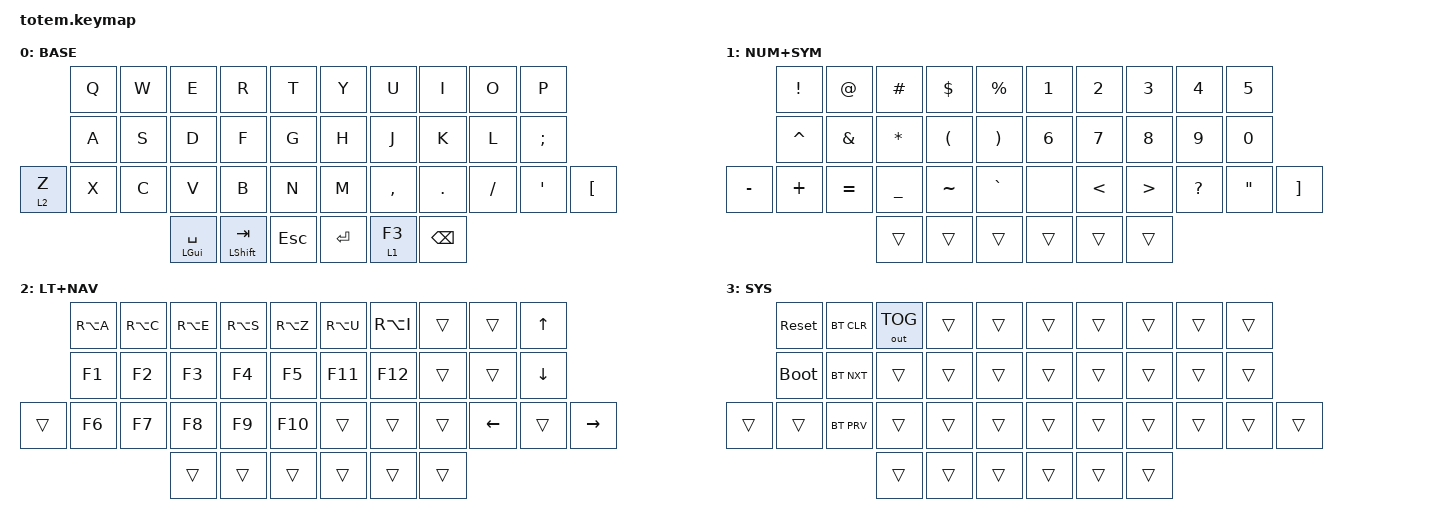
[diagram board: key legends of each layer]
#include <behaviors.dtsi>
#include <dt-bindings/zmk/bt.h>
#include <dt-bindings/zmk/keys.h>
#include <dt-bindings/zmk/outputs.h>

#define BASE 0
#define CMD  1
#define NUM_SYM 2
#define LT_NAV 3
#define SYS  4

&mt {
    quick-tap-ms = <100>;
    global-quick-tap;
    flavor = "hold-preferred";
    tapping-term-ms = <200>;
};

&lt {
    quick-tap-ms = <50>;
    tapping-term-ms = <200>;
    flavor = "tap-preferred";
};

/ {
    combos {
        compatible = "zmk,combos";

        // ' + [ = toggle SYS layer (key-positions 33 34)
        // OPTION + BACKSPACE = DELETE (key-positions 36 37)

        combo_opt_del {
            timeout-ms = <100>;
            key-positions = <36 37>;
            bindings = <&kp DEL>;
            layers = <0>;
        };

        SYS_LAYER {
            bindings = <&kp LEFT_BRACKET>;
            key-positions = <31 30>;
            layers = <3>;
        };
    };

    keymap {
        compatible = "zmk,keymap";

        base_layer {
            label = "BASE";
            bindings = <
         &kp Q  &kp W  &kp E           &kp R          &kp T      &kp Y    &kp U      &kp I          &kp O     &kp P
         &kp A  &kp S  &kp D           &kp F          &kp G      &kp H    &kp J      &kp K          &kp L     &kp SEMI
&lt 2 Z  &kp X  &kp C  &kp V           &kp B          &kp N      &kp M    &kp COMMA  &kp DOT        &kp FSLH  &kp SQT   &kp LBKT
                       &mt LGUI SPACE  &mt LSHFT TAB  &kp ESC    &kp RET  &lt 1 F3   &kp BACKSPACE
            >;
        };

        num_sym_layer {
            label = "NUM+SYM";
            bindings = <
           &kp EXCL   &kp AT     &kp HASH      &kp DLLR   &kp PRCNT    &kp N1  &kp N2  &kp N3  &kp N4        &kp N5
           &kp CARET  &kp AMPS   &kp ASTERISK  &kp LPAR   &kp RPAR     &kp N6  &kp N7  &kp N8  &kp N9        &kp N0
&kp MINUS  &kp PLUS   &kp EQUAL  &kp UNDER     &kp TILDE  &kp GRAVE    &none   &kp LT  &kp GT  &kp QUESTION  &kp DOUBLE_QUOTES  &kp RBKT
                                 &trans        &trans     &trans       &trans  &trans  &trans
            >;
        };

        lt_nav_layer {
            label = "LT+NAV";
            bindings = <
        &kp RA(A)  &kp RA(C)  &kp RA(E)  &kp RA(S)  &kp RA(Z)    &kp RA(U)  &kp RA(I)  &trans  &trans    &kp UP
        &kp F1     &kp F2     &kp F3     &kp F4     &kp F5       &kp F11    &kp F12    &trans  &trans    &kp DOWN
&trans  &kp F6     &kp F7     &kp F8     &kp F9     &kp F10      &trans     &trans     &trans  &kp LEFT  &trans    &kp RIGHT
                              &trans     &trans     &trans       &trans     &trans     &trans
            >;
        };

        sys_layer {
            label = "SYS";
            bindings = <
        &sys_reset   &bt BT_CLR  &out OUT_TOG  &trans  &trans    &trans  &trans  &trans  &trans  &trans
        &bootloader  &bt BT_NXT  &trans        &trans  &trans    &trans  &trans  &trans  &trans  &trans
&trans  &trans       &bt BT_PRV  &trans        &trans  &trans    &trans  &trans  &trans  &trans  &trans  &trans
                                 &trans        &trans  &trans    &trans  &trans  &trans
            >;
        };
    };
};
